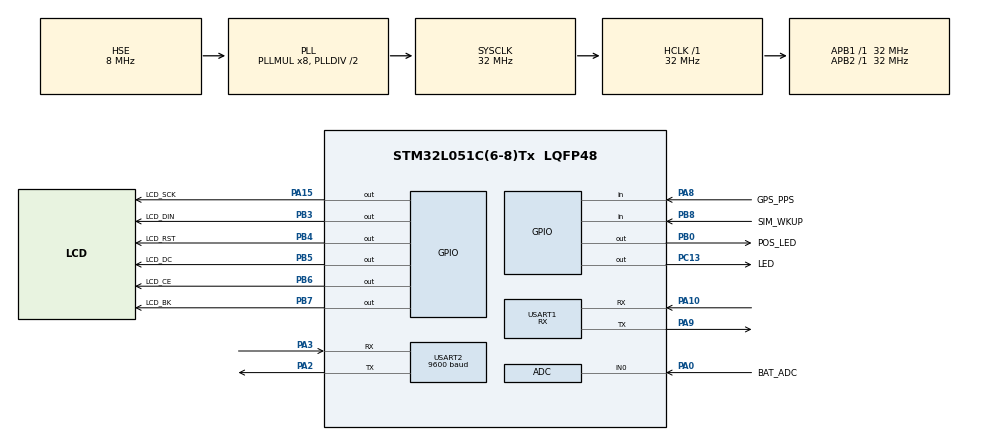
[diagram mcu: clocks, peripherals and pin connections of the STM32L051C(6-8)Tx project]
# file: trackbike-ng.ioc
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ADC.ClockPrescaler=ADC_CLOCK_SYNC_PCLK_DIV4
ADC.SamplingTime=ADC_SAMPLETIME_39CYCLES_5
FREERTOS.Tasks01=screenTask,40,64,screenFunc,Default,NULL,Dynamic,NULL,NULL;dataTrans,24,64,dataTransFunc,Default,NULL,Dynamic,NULL,NULL;posLedTask,24,64,posLedFunc,Default,NULL,Dynamic,NULL,NULL
FREERTOS.configMINIMAL_STACK_SIZE=64
FREERTOS.configTIMER_TASK_STACK_DEPTH=128
FREERTOS.configTOTAL_HEAP_SIZE=1440
FREERTOS.configUSE_TICKLESS_IDLE=1
IWDG.Prescaler=IWDG_PRESCALER_256
IWDG.Reload=4000
IWDG.Window=4095
Mcu.Family=STM32L0
Mcu.Name=STM32L051C(6-8)Tx
Mcu.Package=LQFP48
NVIC.TIM2_IRQn=true\:3\:0\:false\:false\:true\:false\:false\:true\:true
NVIC.TIM6_DAC_IRQn=true\:2\:0\:true\:false\:true\:false\:true\:true\:true
NVIC.TimeBase=TIM2_IRQn
NVIC.TimeBaseIP=TIM2
NVIC.USART1_IRQn=true\:0\:0\:true\:false\:true\:false\:true\:true\:true
NVIC.USART2_IRQn=true\:1\:0\:true\:false\:true\:false\:true\:true\:true
PA0.GPIO_Label=BAT_ADC
PA0.Mode=IN0
PA0.Signal=ADC_IN0
PA10.Mode=Asynchronous
PA10.Signal=USART1_RX
PA13.Mode=Serial_Wire
PA13.Signal=SYS_SWDIO
PA14.Mode=Serial_Wire
PA14.Signal=SYS_SWCLK
PA15.GPIO_Label=LCD_SCK
PA15.Signal=GPIO_Output
PA2.Mode=Asynchronous
PA2.Signal=USART2_TX
PA3.Mode=Asynchronous
PA3.Signal=USART2_RX
PA8.GPIO_Label=GPS_PPS
PA8.Signal=GPIO_Input
PA9.Mode=Asynchronous
PA9.Signal=USART1_TX
PB0.GPIO_Label=POS_LED
PB0.Signal=GPIO_Output
PB3.GPIO_Label=LCD_DIN
PB3.Signal=GPIO_Output
PB4.GPIO_Label=LCD_RST
PB4.Signal=GPIO_Output
PB5.GPIO_Label=LCD_DC
PB5.Signal=GPIO_Output
PB6.GPIO_Label=LCD_CE
PB6.Signal=GPIO_Output
PB7.GPIO_Label=LCD_BK
PB7.PinState=GPIO_PIN_RESET
PB7.Signal=GPIO_Output
PB8.GPIO_Label=SIM_WKUP
PB8.Signal=GPIO_Input
PC13.GPIO_Label=LED
PC13.Signal=GPIO_Output
PH0-OSC_IN.Mode=HSE-External-Oscillator
PH0-OSC_IN.Signal=RCC_OSC_IN
PH1-OSC_OUT.Mode=HSE-External-Oscillator
PH1-OSC_OUT.Signal=RCC_OSC_OUT
ProjectManager.HeapSize=0x050
ProjectManager.StackSize=0x300
ProjectManager.TargetToolchain=STM32CubeIDE
RCC.AHBFreq_Value=32000000
RCC.APB1Freq_Value=32000000
RCC.APB1TimFreq_Value=32000000
RCC.APB2Freq_Value=32000000
RCC.APB2TimFreq_Value=32000000
RCC.HCLKFreq_Value=32000000
RCC.HSE_VALUE=8000000
RCC.HSI16_VALUE=16000000
RCC.HSI_VALUE=16000000
RCC.LSE_VALUE=32768
RCC.MSIClockRange=RCC_MSIRANGE_6
RCC.MSI_VALUE=4194000
RCC.PLLMUL=RCC_PLLMUL_8
RCC.PLLSourceVirtual=RCC_PLLSOURCE_HSE
RCC.SYSCLKFreq_VALUE=32000000
RCC.SYSCLKSource=RCC_SYSCLKSOURCE_PLLCLK
RCC.VCOOutputFreq_Value=64000000
TIM6.Period=800-1
TIM6.Prescaler=4000-1
USART1.Mode=MODE_RX
USART1.OverrunDisableParam=ADVFEATURE_OVERRUN_DISABLE
USART1.VirtualMode-Asynchronous=VM_ASYNC
USART2.BaudRate=9600
USART2.OverrunDisableParam=ADVFEATURE_OVERRUN_DISABLE
USART2.VirtualMode-Asynchronous=VM_ASYNC
VP_FREERTOS_VS_CMSIS_V2.Mode=CMSIS_V2
VP_IWDG_VS_IWDG.Mode=IWDG_Activate
VP_SYS_VS_tim2.Mode=TIM2
VP_TIM6_VS_ClockSourceINT.Mode=Enable_Timer
board=custom

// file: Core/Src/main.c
/* USER CODE BEGIN Header */
/**
  ******************************************************************************
  * @file           : main.c
  * @brief          : Main program body
  ******************************************************************************
  * @attention
  *
  * Copyright (c) 2023 STMicroelectronics.
  * All rights reserved.
  *
  * This software is licensed under terms that can be found in the LICENSE file
  * in the root directory of this software component.
  * If no LICENSE file comes with this software, it is provided AS-IS.
  *
  ******************************************************************************
  */
/* USER CODE END Header */
#include "main.h"
#include "cmsis_os.h"

/* USER CODE BEGIN PD */
#define GUI_BIGWORD_LINE 4
/* USER CODE END PD */

ADC_HandleTypeDef hadc;

IWDG_HandleTypeDef hiwdg;

TIM_HandleTypeDef htim6;

UART_HandleTypeDef huart1;
UART_HandleTypeDef huart2;

/* Definitions for screenTask */
osThreadId_t screenTaskHandle;
const osThreadAttr_t screenTask_attributes = {
  .name = "screenTask",
  .stack_size = 64 * 4,
  .priority = (osPriority_t) osPriorityHigh,
};
/* Definitions for dataTrans */
osThreadId_t dataTransHandle;
const osThreadAttr_t dataTrans_attributes = {
  .name = "dataTrans",
  .stack_size = 64 * 4,
  .priority = (osPriority_t) osPriorityNormal,
};
/* Definitions for posLedTask */
osThreadId_t posLedTaskHandle;
const osThreadAttr_t posLedTask_attributes = {
  .name = "posLedTask",
  .stack_size = 64 * 4,
  .priority = (osPriority_t) osPriorityHigh,
};
/* USER CODE BEGIN PV */
const uint8_t BIKENAME[]="XXXX";
const uint8_t SERVER_LICENSE[]="XXX";
const uint8_t SERVER[]="XXXXXX";
/* USER CODE END PV */

void SystemClock_Config(void);
static void MX_GPIO_Init(void);
static void MX_USART1_UART_Init(void);
static void MX_USART2_UART_Init(void);
static void MX_IWDG_Init(void);
static void MX_ADC_Init(void);
static void MX_TIM6_Init(void);
void screenFunc(void *argument);
void dataTransFunc(void *argument);
void posLedFunc(void *argument);

/* USER CODE BEGIN 0 */
uint8_t u1_rev_dat;
uint16_t u1_rev_cnt=0;
uint8_t u1_rev_on=0;
uint8_t u1_single_cmd[200];

uint8_t u2_rev_dat,u2_rev_last;
uint8_t u2_rev_on=0;
uint16_t u2_rev_cnt=0;
void HAL_UART_RxCpltCallback(UART_HandleTypeDef *huart){
	if(huart->Instance==huart1.Instance){
		if(u1_rev_dat=='$'){
			u1_rev_on=1;
			u1_rev_cnt=0;
		}
		else if(u1_rev_dat=='\r'&&u1_rev_on){
			u1_rev_on=0;
			gps_msg_read(u1_single_cmd);
			u1_rev_cnt=0;
			memset(u1_single_cmd,0,sizeof(u1_single_cmd));
		}
		if(u1_rev_on){
			u1_single_cmd[u1_rev_cnt++]=u1_rev_dat;
		}
		HAL_UART_Receive_IT(huart, &u1_rev_dat, 1);
	}
	else if(huart->Instance==huart2.Instance){
		if(sim800l_data_summary.wait_until_ok_mode){
			if(u2_rev_last=='O'&&u2_rev_dat=='K'){
				sim800l_data_summary.wait_until_ok_mode=0;
				sim800l_data_summary.wait_until_ok_flag=1;
			}
		}
		if(sim800l_data_summary.rev_sync_mode){
			sim800l_data_summary.rev_sync_buffer[sim800l_data_summary.rev_sync_cnt++]=u2_rev_dat;
			if(sim800l_data_summary.rev_sync_cnt>=sizeof(sim800l_data_summary.rev_sync_buffer)){
				sim800l_data_summary.rev_sync_cnt=0;
				sim800l_data_summary.rev_sync_mode=0;
				memset(sim800l_data_summary.rev_sync_buffer,0,sizeof(sim800l_data_summary.rev_sync_buffer));
			}
		}
		if(u2_rev_dat=='&'){
			u2_rev_on=1;
		}
		else if(u2_rev_dat=='\r'&&u2_rev_on){
			u2_rev_on=0;
			sim800l_server_cmd_resolve();
			sim800l_data_summary.rev_cmd_cnt=0;
			memset(sim800l_data_summary.rev_cmd_buffer,0,sizeof(sim800l_data_summary.rev_cmd_buffer));
		}
		if(u2_rev_on){
			sim800l_data_summary.rev_cmd_buffer[sim800l_data_summary.rev_cmd_cnt++]=u2_rev_dat;
		}
		u2_rev_last=u2_rev_dat;
		HAL_UART_Receive_IT(huart, &u2_rev_dat, 1);
	}
}

void HAL_UART_ErrorCallback(UART_HandleTypeDef *huart){
	if(READ_BIT(huart->Instance->ISR,UART_FLAG_NE)){
		__HAL_UART_CLEAR_NEFLAG(huart);
	}
	else if(READ_BIT(huart->Instance->ISR,UART_FLAG_ORE)){
		__HAL_UART_CLEAR_OREFLAG(huart);
	}
	else if(READ_BIT(huart->Instance->ISR,UART_FLAG_FE)){
		__HAL_UART_CLEAR_FEFLAG(huart);
	}
	else if(READ_BIT(huart->Instance->ISR,UART_FLAG_PE)){
		__HAL_UART_CLEAR_PEFLAG(huart);
	}
}

void GUI_BOOT_REGISTER_NET(){
	LCD_Clean();
	l_print("Powered By", 0, Middle);
	LCD_draw_freertos(3,1);
	LCD_draw_big(3,GUI_BIGWORD_LINE,6);
	LCD_draw_big(5,GUI_BIGWORD_LINE,7);
	LCD_draw_big(7,GUI_BIGWORD_LINE,8);
	LCD_draw_big(9,GUI_BIGWORD_LINE,9);
}

void GUI_BOOT_TCP_CONNECT(){
	LCD_Clean();
	l_print("Powered By", 0, Middle);
	LCD_draw_freertos(3,1);
	LCD_draw_big(2,GUI_BIGWORD_LINE,10);
	LCD_draw_big(4,GUI_BIGWORD_LINE,11);
	LCD_draw_big(6,GUI_BIGWORD_LINE,12);
	LCD_draw_big(8,GUI_BIGWORD_LINE,13);
	LCD_draw_big(10,GUI_BIGWORD_LINE,14);
}

void GUI_BOOT_TCP_FAIL(){
	LCD_Clean();
	l_print("Powered By", 0, Middle);
	LCD_draw_freertos(3,1);
	LCD_draw_big(0,GUI_BIGWORD_LINE,10);
	LCD_draw_big(2,GUI_BIGWORD_LINE,11);
	LCD_draw_big(4,GUI_BIGWORD_LINE,12);
	LCD_draw_big(6,GUI_BIGWORD_LINE,13);
	LCD_draw_big(8,GUI_BIGWORD_LINE,14);
	LCD_draw_big(10,GUI_BIGWORD_LINE,15);
	LCD_draw_big(12,GUI_BIGWORD_LINE,16);
}
/* USER CODE END 0 */

int main(void)
{

  /* MCU Configuration--------------------------------------------------------*/

  /* Reset of all peripherals, Initializes the Flash interface and the Systick. */
  HAL_Init();

  /* Configure the system clock */
  SystemClock_Config();

  /* Initialize all configured peripherals */
  MX_GPIO_Init();
  MX_USART1_UART_Init();
  MX_USART2_UART_Init();
//  MX_IWDG_Init();
  MX_ADC_Init();
  MX_TIM6_Init();
  /* USER CODE BEGIN 2 */

  HAL_UART_Receive_IT(&huart1, &u1_rev_dat, 1);
  HAL_UART_Receive_IT(&huart2, &u2_rev_dat, 1);
  HAL_GPIO_WritePin(LCD_BK_GPIO_Port, LCD_BK_Pin, 1);
  LCD_Init();
  HAL_Delay(3000);
  sim800l_init();
  MX_IWDG_Init();
  HAL_TIM_Base_Start_IT(&htim6);
  /* USER CODE END 2 */

  /* Init scheduler */
  osKernelInitialize();

  /* Create the thread(s) */
  /* creation of screenTask */
  screenTaskHandle = osThreadNew(screenFunc, NULL, &screenTask_attributes);

  /* creation of dataTrans */
  dataTransHandle = osThreadNew(dataTransFunc, NULL, &dataTrans_attributes);

  /* creation of posLedTask */
  posLedTaskHandle = osThreadNew(posLedFunc, NULL, &posLedTask_attributes);

  /* Start scheduler */
  osKernelStart();

  /* We should never get here as control is now taken by the scheduler */
  /* Infinite loop */
  while (1)
  {

  }
}

void SystemClock_Config(void)
{
  RCC_OscInitTypeDef RCC_OscInitStruct = {0};
  RCC_ClkInitTypeDef RCC_ClkInitStruct = {0};
  RCC_PeriphCLKInitTypeDef PeriphClkInit = {0};

  /** Configure the main internal regulator output voltage
  */
  __HAL_PWR_VOLTAGESCALING_CONFIG(PWR_REGULATOR_VOLTAGE_SCALE1);

  /** Initializes the RCC Oscillators according to the specified parameters
  * in the RCC_OscInitTypeDef structure.
  */
  RCC_OscInitStruct.OscillatorType = RCC_OSCILLATORTYPE_LSI|RCC_OSCILLATORTYPE_HSE;
  RCC_OscInitStruct.HSEState = RCC_HSE_ON;
  RCC_OscInitStruct.LSIState = RCC_LSI_ON;
  RCC_OscInitStruct.PLL.PLLState = RCC_PLL_ON;
  RCC_OscInitStruct.PLL.PLLSource = RCC_PLLSOURCE_HSE;
  RCC_OscInitStruct.PLL.PLLMUL = RCC_PLLMUL_8;
  RCC_OscInitStruct.PLL.PLLDIV = RCC_PLLDIV_2;
  if (HAL_RCC_OscConfig(&RCC_OscInitStruct) != HAL_OK)
  {
    Error_Handler();
  }

  /** Initializes the CPU, AHB and APB buses clocks
  */
  RCC_ClkInitStruct.ClockType = RCC_CLOCKTYPE_HCLK|RCC_CLOCKTYPE_SYSCLK
                              |RCC_CLOCKTYPE_PCLK1|RCC_CLOCKTYPE_PCLK2;
  RCC_ClkInitStruct.SYSCLKSource = RCC_SYSCLKSOURCE_PLLCLK;
  RCC_ClkInitStruct.AHBCLKDivider = RCC_SYSCLK_DIV1;
  RCC_ClkInitStruct.APB1CLKDivider = RCC_HCLK_DIV1;
  RCC_ClkInitStruct.APB2CLKDivider = RCC_HCLK_DIV1;

  if (HAL_RCC_ClockConfig(&RCC_ClkInitStruct, FLASH_LATENCY_1) != HAL_OK)
  {
    Error_Handler();
  }
  PeriphClkInit.PeriphClockSelection = RCC_PERIPHCLK_USART1|RCC_PERIPHCLK_USART2;
  PeriphClkInit.Usart1ClockSelection = RCC_USART1CLKSOURCE_PCLK2;
  PeriphClkInit.Usart2ClockSelection = RCC_USART2CLKSOURCE_PCLK1;
  if (HAL_RCCEx_PeriphCLKConfig(&PeriphClkInit) != HAL_OK)
  {
    Error_Handler();
  }
}

static void MX_ADC_Init(void)
{

  ADC_ChannelConfTypeDef sConfig = {0};

  /** Configure the global features of the ADC (Clock, Resolution, Data Alignment and number of conversion)
  */
  hadc.Instance = ADC1;
  hadc.Init.OversamplingMode = DISABLE;
  hadc.Init.ClockPrescaler = ADC_CLOCK_SYNC_PCLK_DIV4;
  hadc.Init.Resolution = ADC_RESOLUTION_12B;
  hadc.Init.SamplingTime = ADC_SAMPLETIME_39CYCLES_5;
  hadc.Init.ScanConvMode = ADC_SCAN_DIRECTION_FORWARD;
  hadc.Init.DataAlign = ADC_DATAALIGN_RIGHT;
  hadc.Init.ContinuousConvMode = DISABLE;
  hadc.Init.DiscontinuousConvMode = DISABLE;
  hadc.Init.ExternalTrigConvEdge = ADC_EXTERNALTRIGCONVEDGE_NONE;
  hadc.Init.ExternalTrigConv = ADC_SOFTWARE_START;
  hadc.Init.DMAContinuousRequests = DISABLE;
  hadc.Init.EOCSelection = ADC_EOC_SINGLE_CONV;
  hadc.Init.Overrun = ADC_OVR_DATA_PRESERVED;
  hadc.Init.LowPowerAutoWait = DISABLE;
  hadc.Init.LowPowerFrequencyMode = DISABLE;
  hadc.Init.LowPowerAutoPowerOff = DISABLE;
  if (HAL_ADC_Init(&hadc) != HAL_OK)
  {
    Error_Handler();
  }

  /** Configure for the selected ADC regular channel to be converted.
  */
  sConfig.Channel = ADC_CHANNEL_0;
  sConfig.Rank = ADC_RANK_CHANNEL_NUMBER;
  if (HAL_ADC_ConfigChannel(&hadc, &sConfig) != HAL_OK)
  {
    Error_Handler();
  }

}

static void MX_IWDG_Init(void)
{

  hiwdg.Instance = IWDG;
  hiwdg.Init.Prescaler = IWDG_PRESCALER_256;
  hiwdg.Init.Window = 4095;
  hiwdg.Init.Reload = 4000;
  if (HAL_IWDG_Init(&hiwdg) != HAL_OK)
  {
    Error_Handler();
  }

}

static void MX_TIM6_Init(void)
{

  TIM_MasterConfigTypeDef sMasterConfig = {0};

  htim6.Instance = TIM6;
  htim6.Init.Prescaler = 4000-1;
  htim6.Init.CounterMode = TIM_COUNTERMODE_UP;
  htim6.Init.Period = 800-1;
  htim6.Init.AutoReloadPreload = TIM_AUTORELOAD_PRELOAD_DISABLE;
  if (HAL_TIM_Base_Init(&htim6) != HAL_OK)
  {
    Error_Handler();
  }
  sMasterConfig.MasterOutputTrigger = TIM_TRGO_RESET;
  sMasterConfig.MasterSlaveMode = TIM_MASTERSLAVEMODE_DISABLE;
  if (HAL_TIMEx_MasterConfigSynchronization(&htim6, &sMasterConfig) != HAL_OK)
  {
    Error_Handler();
  }

}

static void MX_USART1_UART_Init(void)
{

  huart1.Instance = USART1;
  huart1.Init.BaudRate = 115200;
  huart1.Init.WordLength = UART_WORDLENGTH_8B;
  huart1.Init.StopBits = UART_STOPBITS_1;
  huart1.Init.Parity = UART_PARITY_NONE;
  huart1.Init.Mode = UART_MODE_RX;
  huart1.Init.HwFlowCtl = UART_HWCONTROL_NONE;
  huart1.Init.OverSampling = UART_OVERSAMPLING_16;
  huart1.Init.OneBitSampling = UART_ONE_BIT_SAMPLE_DISABLE;
  huart1.AdvancedInit.AdvFeatureInit = UART_ADVFEATURE_RXOVERRUNDISABLE_INIT;
  huart1.AdvancedInit.OverrunDisable = UART_ADVFEATURE_OVERRUN_DISABLE;
  if (HAL_UART_Init(&huart1) != HAL_OK)
  {
    Error_Handler();
  }

}

static void MX_USART2_UART_Init(void)
{

  huart2.Instance = USART2;
  huart2.Init.BaudRate = 9600;
  huart2.Init.WordLength = UART_WORDLENGTH_8B;
  huart2.Init.StopBits = UART_STOPBITS_1;
  huart2.Init.Parity = UART_PARITY_NONE;
  huart2.Init.Mode = UART_MODE_TX_RX;
  huart2.Init.HwFlowCtl = UART_HWCONTROL_NONE;
  huart2.Init.OverSampling = UART_OVERSAMPLING_16;
  huart2.Init.OneBitSampling = UART_ONE_BIT_SAMPLE_DISABLE;
  huart2.AdvancedInit.AdvFeatureInit = UART_ADVFEATURE_RXOVERRUNDISABLE_INIT;
  huart2.AdvancedInit.OverrunDisable = UART_ADVFEATURE_OVERRUN_DISABLE;
  if (HAL_UART_Init(&huart2) != HAL_OK)
  {
    Error_Handler();
  }

}

static void MX_GPIO_Init(void)
{
  GPIO_InitTypeDef GPIO_InitStruct = {0};

  /* GPIO Ports Clock Enable */
  __HAL_RCC_GPIOC_CLK_ENABLE();
  __HAL_RCC_GPIOH_CLK_ENABLE();
  __HAL_RCC_GPIOA_CLK_ENABLE();
  __HAL_RCC_GPIOB_CLK_ENABLE();

  /*Configure GPIO pin Output Level */
  HAL_GPIO_WritePin(LED_GPIO_Port, LED_Pin, GPIO_PIN_RESET);

  /*Configure GPIO pin Output Level */
  HAL_GPIO_WritePin(GPIOB, POS_LED_Pin|LCD_DIN_Pin|LCD_RST_Pin|LCD_DC_Pin
                          |LCD_CE_Pin|LCD_BK_Pin, GPIO_PIN_RESET);

  /*Configure GPIO pin Output Level */
  HAL_GPIO_WritePin(LCD_SCK_GPIO_Port, LCD_SCK_Pin, GPIO_PIN_RESET);

  /*Configure GPIO pin : LED_Pin */
  GPIO_InitStruct.Pin = LED_Pin;
  GPIO_InitStruct.Mode = GPIO_MODE_OUTPUT_PP;
  GPIO_InitStruct.Pull = GPIO_NOPULL;
  GPIO_InitStruct.Speed = GPIO_SPEED_FREQ_LOW;
  HAL_GPIO_Init(LED_GPIO_Port, &GPIO_InitStruct);

  /*Configure GPIO pins : POS_LED_Pin LCD_DIN_Pin LCD_RST_Pin LCD_DC_Pin
                           LCD_CE_Pin LCD_BK_Pin */
  GPIO_InitStruct.Pin = POS_LED_Pin|LCD_DIN_Pin|LCD_RST_Pin|LCD_DC_Pin
                          |LCD_CE_Pin|LCD_BK_Pin;
  GPIO_InitStruct.Mode = GPIO_MODE_OUTPUT_PP;
  GPIO_InitStruct.Pull = GPIO_NOPULL;
  GPIO_InitStruct.Speed = GPIO_SPEED_FREQ_LOW;
  HAL_GPIO_Init(GPIOB, &GPIO_InitStruct);

  /*Configure GPIO pin : GPS_PPS_Pin */
  GPIO_InitStruct.Pin = GPS_PPS_Pin;
  GPIO_InitStruct.Mode = GPIO_MODE_INPUT;
  GPIO_InitStruct.Pull = GPIO_NOPULL;
  HAL_GPIO_Init(GPS_PPS_GPIO_Port, &GPIO_InitStruct);

  /*Configure GPIO pin : LCD_SCK_Pin */
  GPIO_InitStruct.Pin = LCD_SCK_Pin;
  GPIO_InitStruct.Mode = GPIO_MODE_OUTPUT_PP;
  GPIO_InitStruct.Pull = GPIO_NOPULL;
  GPIO_InitStruct.Speed = GPIO_SPEED_FREQ_LOW;
  HAL_GPIO_Init(LCD_SCK_GPIO_Port, &GPIO_InitStruct);

  /*Configure GPIO pin : SIM_WKUP_Pin */
  GPIO_InitStruct.Pin = SIM_WKUP_Pin;
  GPIO_InitStruct.Mode = GPIO_MODE_INPUT;
  GPIO_InitStruct.Pull = GPIO_NOPULL;
  HAL_GPIO_Init(SIM_WKUP_GPIO_Port, &GPIO_InitStruct);

}

/* USER CODE BEGIN Header_screenFunc */
const uint8_t week2str[][4]={"err","mon","tue","wed","thu","fri","sat","sun"};
const uint8_t hdg_direction[][14]={"NORTH    ","NORTHEAST","EAST     ",
		"SOUTHEAST","SOUTH    ","SOUTHWEST","WEST     ","NORTHWEST","ERROR    "};
uint8_t get_heading_direction(){
	uint8_t gap=20;
	if(gps_data_summary.heading_int<gap||gps_data_summary.heading_int>=360-gap){
		return 0;
	}
	else if(gps_data_summary.heading_int>=gap&&gps_data_summary.heading_int<90-gap){
		return 1;
	}
	else if(gps_data_summary.heading_int>=90-gap&&gps_data_summary.heading_int<90+gap){
		return 2;
	}
	else if(gps_data_summary.heading_int>=90+gap&&gps_data_summary.heading_int<180-gap){
		return 3;
	}
	else if(gps_data_summary.heading_int>=180-gap&&gps_data_summary.heading_int<180+gap){
		return 4;
	}
	else if(gps_data_summary.heading_int>=180+gap&&gps_data_summary.heading_int<270-gap){
		return 5;
	}
	else if( gps_data_summary.heading_int>=270-gap&&gps_data_summary.heading_int<270+gap){
		return 6;
	}
	else if( gps_data_summary.heading_int>=270+gap&&gps_data_summary.heading_int<360-gap){
		return 7;
	}
	else{
		return 8;
	}
}

void fillstr_bynum(uint8_t* buffer,int num){
	if(num>=10){
		buffer[0]=num/10+'0';
	}else{
		buffer[0]='0';
	}
	buffer[1]=num%10+'0';
}
/**
  * @brief  Function implementing the screenTask thread.
  * @param  argument: Not used
  * @retval None
  */
uint8_t battery_voltage_str[5]="0.0";
float battery_voltage=0;
float battery_sample_K=0.05;
#define SCREEN_BAT_MILE_DISP_INTERVAL 10
/* USER CODE END Header_screenFunc */
void screenFunc(void *argument)
{
  /* USER CODE BEGIN 5 */
	uint8_t current_mode=0,tm_loop_cnt=0,bat_disp_cnt=0;
	uint8_t headline[10]="thu 14:03";
	uint8_t last_stage=0;
	osDelay(100);
	HAL_ADCEx_Calibration_Start(&hadc, ADC_SINGLE_ENDED);
  /* Infinite loop */
  for(;;)
  {
	HAL_ADC_Start(&hadc);
	HAL_ADC_PollForConversion(&hadc, 50);
	if(HAL_IS_BIT_SET(HAL_ADC_GetState(&hadc),HAL_ADC_STATE_EOC_REG)){
		float adc_value=((float)HAL_ADC_GetValue(&hadc))/4095.0f*3.3*3;
		if(battery_voltage==0){
			battery_voltage=adc_value;
		}else{
			battery_voltage=battery_sample_K*adc_value+(1-battery_sample_K)*battery_voltage;
		}
	}
	if(current_mode!=gps_data_summary.parked_mode){
	  LCD_Clean();
	}
	LCD_SetXY(0,0);
	g_puts(WORD_TOWER_SIM);
	g_puts(WORD_SIGNAL(sim800l_data_summary.signal_level));
	g_puts(WORD_TOWER_GPS);
	g_puts(WORD_SIGNAL(gps_data_summary.signal_level*gps_data_summary.connected));
	headline[0]=week2str[sim800l_data_summary.net_week][0];
	headline[1]=week2str[sim800l_data_summary.net_week][1];
	headline[2]=week2str[sim800l_data_summary.net_week][2];
	fillstr_bynum(headline+4,sim800l_data_summary.net_hour);
	fillstr_bynum(headline+7,sim800l_data_summary.net_min);
	if(tm_loop_cnt==2){
		if(headline[6]==':'){
			headline[6]=' ';
		}else{
			headline[6]=':';
		}
		tm_loop_cnt=0;
	}
	l_print((char*)headline, 0, Right);
	if(!gps_data_summary.parked_mode&&gps_data_summary.connected){
		if(last_stage!=1){
			l_print("              ", 2, Middle);
			l_print("              ", 3, Middle);
		}
		LCD_draw_big(0,2,0);
		LCD_draw_big(2,2,1);
		LCD_draw_big_num(6, 2, gps_data_summary.velocity_kmh_int/10);
		LCD_draw_big_num(8, 2, gps_data_summary.velocity_kmh_int%10);
		l_print("              ", 1, Middle);
		l_print("km/h", 3, Right);
		if(sim800l_data_summary.net_hour>=18||sim800l_data_summary.net_hour<=7){
			HAL_GPIO_WritePin(LCD_BK_GPIO_Port, LCD_BK_Pin, 1);
		}else{
			HAL_GPIO_WritePin(LCD_BK_GPIO_Port, LCD_BK_Pin, 0);
		}
		last_stage=1;
	}else{
		if(bat_disp_cnt<SCREEN_BAT_MILE_DISP_INTERVAL){
			if(last_stage!=2){
				l_print("              ", 2, Middle);
				l_print("              ", 3, Middle);
			}
			LCD_draw_big(0,2,2);
			LCD_draw_big(2,2,3);
			LCD_draw_big_num(5, 2, sim800l_data_summary.net_aux[1]);
			LCD_draw_big_num(7, 2, sim800l_data_summary.net_aux[2]);
			LCD_SetXY(9*6,3);
			g_puts('.');
			LCD_SetXY(12*6,3);
			g_puts('k');
			LCD_SetXY(13*6,3);
			g_puts('m');
//			LCD_draw_big_num(10, 2, mile_num_2);
			LCD_draw_big_num(10, 2, sim800l_data_summary.net_aux[3]);
			last_stage=2;
		}
		else if(bat_disp_cnt>=SCREEN_BAT_MILE_DISP_INTERVAL&&bat_disp_cnt<SCREEN_BAT_MILE_DISP_INTERVAL*2){
			if(last_stage!=3){
				l_print("              ", 2, Middle);
				l_print("              ", 3, Middle);
			}
			uint8_t bat_num_1=(uint8_t)battery_voltage;
			uint8_t bat_num_2=(battery_voltage-bat_num_1)*10;
			uint8_t bat_num_3=((uint8_t)((battery_voltage-bat_num_1)*100))%10;
			LCD_draw_big(0,2,4);
			LCD_draw_big(2,2,5);
			LCD_draw_big_num(5, 2, bat_num_1);
			LCD_SetXY(7*6,3);
			g_puts('.');
			LCD_SetXY(13*6,3);
			g_puts('V');
			LCD_draw_big_num(8, 2, bat_num_2);
			LCD_draw_big_num(10, 2, bat_num_3);
			battery_voltage_str[0]=bat_num_1+'0';
			battery_voltage_str[1]='.';
			battery_voltage_str[2]=bat_num_2+'0';
			battery_voltage_str[3]=bat_num_3+'0';
			battery_voltage_str[4]=0;
			last_stage=3;
		}else{
			bat_disp_cnt=0;
		}
		if(gps_data_summary.parked_mode){
			l_print("   [PARKED]   ", 1, Middle);
		}
		HAL_GPIO_WritePin(LCD_BK_GPIO_Port, LCD_BK_Pin, 0);
	}
	if(!gps_data_summary.connected){
		l_print("[GPS MALFUNC] ", 1, Middle);
	}
	if(sim800l_data_summary.connection_loss_flag){
		l_print("TRY RECONNECT.", 1, Middle);
	}
	uint8_t now_dir=get_heading_direction();
	l_print((char*)hdg_direction[now_dir], 5, Left);
	uint8_t hdg[4]="000";
	uint8_t hdg_cnt=0;
	uint16_t heading_tmp=gps_data_summary.heading_int;
	while(heading_tmp!=0){
		hdg[2-hdg_cnt]=heading_tmp%10+'0';
		heading_tmp/=10;
		hdg_cnt++;
	}
	l_print((char*)hdg, 5, Right);
	tm_loop_cnt++;
	bat_disp_cnt++;
	HAL_IWDG_Refresh(&hiwdg);
	current_mode=gps_data_summary.parked_mode;
	//每天自动重启
	if(sim800l_data_summary.net_hour==2&&sim800l_data_summary.net_min==1&&
			(sim800l_data_summary.net_sec>=0&&sim800l_data_summary.net_sec<=20)){
		HAL_NVIC_SystemReset();
	}
	osDelay(250);
  }
  /* USER CODE END 5 */
}

void dataTransFunc(void *argument)
{
  /* USER CODE BEGIN dataTransFunc */
	uint8_t state_transfer_flag=0;//如果检测到停止，立刻发送数据包，之后再恢复正常间隔
	uint32_t interval=6000;
	uint32_t tick_1=0,tick_2=0;
	sim800l_data_summary.osReady=1;
	gps_data_summary.os_ready=1;
  /* Infinite loop */
  for(;;)
  {
	  tick_1=HAL_GetTick();
	  sim800l_noecho();
	  sim800l_read_rssi();
	  //It seems that i ignored the process safety.
	  if(battery_voltage_str[0]!='0'){
		  if(gps_data_summary.queue_tail>0){
			  sim800l_send_queue();
			  state_transfer_flag=1;
		  }else{
			  gps_generate_null();
			  sim800l_send(gps_pulse_message);
			  state_transfer_flag=0;
		  }
	  }else{
		  osDelay(1000);
		  continue;
	  }
	  HAL_GPIO_TogglePin(LCD_BK_GPIO_Port, LCD_BK_Pin);
	  osDelay(100);
	  HAL_GPIO_TogglePin(LCD_BK_GPIO_Port, LCD_BK_Pin);
	  if(!sim800l_check_connection(1000)){
		  sim800l_init_quick();
	  }
	  tick_2=HAL_GetTick();
	  if(state_transfer_flag){
		  interval=6000;
	  }else{
		  interval=5*6000;
	  }
	  if(tick_2-tick_1<interval){
		  uint32_t delta=interval-(tick_2-tick_1);
		  osDelay(delta);
	  }
  }
  /* USER CODE END dataTransFunc */
}

/* USER CODE BEGIN Header_posLedFunc */
/**
* @brief Function implementing the posLedTask thread.
* @param argument: Not used
* @retval None
*/
uint8_t self_timer_cnt=0;
/* USER CODE END Header_posLedFunc */
void posLedFunc(void *argument)
{
  /* USER CODE BEGIN posLedFunc */
  /* Infinite loop */
  for(;;)
  {
	  //0:strobe 1:steady 2:off
	  if(sim800l_data_summary.net_aux[0]==0){
		  HAL_GPIO_WritePin(POS_LED_GPIO_Port, POS_LED_Pin, 1);
		  osDelay(25);
		  HAL_GPIO_WritePin(POS_LED_GPIO_Port, POS_LED_Pin, 0);
		  osDelay(50);
		  HAL_GPIO_WritePin(POS_LED_GPIO_Port, POS_LED_Pin, 1);
		  osDelay(25);
		  HAL_GPIO_WritePin(POS_LED_GPIO_Port, POS_LED_Pin, 0);
		  osDelay(25);
	  }else if(sim800l_data_summary.net_aux[0]==1){
		  HAL_GPIO_WritePin(POS_LED_GPIO_Port, POS_LED_Pin, 1);
	  }
	  else if(sim800l_data_summary.net_aux[0]==2){
		  if(sim800l_data_summary.net_hour>=18||sim800l_data_summary.net_hour<=7){
			  HAL_GPIO_WritePin(POS_LED_GPIO_Port, POS_LED_Pin, 1);
			  osDelay(25);
			  HAL_GPIO_WritePin(POS_LED_GPIO_Port, POS_LED_Pin, 0);
			  osDelay(50);
			  HAL_GPIO_WritePin(POS_LED_GPIO_Port, POS_LED_Pin, 1);
			  osDelay(25);
			  HAL_GPIO_WritePin(POS_LED_GPIO_Port, POS_LED_Pin, 0);
			  osDelay(25);
		  }
		  else{
			  HAL_GPIO_WritePin(POS_LED_GPIO_Port, POS_LED_Pin, 0);
		  }
	  }
	  else{
		  HAL_GPIO_WritePin(POS_LED_GPIO_Port, POS_LED_Pin, 0);
	  }
	  osDelay(1000);
  }
  /* USER CODE END posLedFunc */
}

void HAL_TIM_PeriodElapsedCallback(TIM_HandleTypeDef *htim)
{
  if (htim->Instance == TIM2) {
    HAL_IncTick();
  }
  /* USER CODE BEGIN Callback 1 */
  else if(htim->Instance==htim6.Instance){
		self_timer_cnt++;
		if(self_timer_cnt==10){
		  self_timer_cnt=0;
		  sim800l_data_summary.net_sec++;
		  if(sim800l_data_summary.net_sec==60){
			sim800l_data_summary.net_sec=0;
			sim800l_data_summary.net_min++;
			if(sim800l_data_summary.net_min==60){
				sim800l_data_summary.net_min=0;
				sim800l_data_summary.net_hour++;
				if(sim800l_data_summary.net_hour==24){
					sim800l_data_summary.net_hour=0;
				}
			}
		  }
		}
		HAL_TIM_Base_Start_IT(&htim6);
	}
  /* USER CODE END Callback 1 */
}

void Error_Handler(void)
{
  __disable_irq();
  while (1)
  {
  }
}

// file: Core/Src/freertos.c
/* USER CODE BEGIN Header */
/**
  ******************************************************************************
  * File Name          : freertos.c
  * Description        : Code for freertos applications
  ******************************************************************************
  * @attention
  *
  * Copyright (c) 2023 STMicroelectronics.
  * All rights reserved.
  *
  * This software is licensed under terms that can be found in the LICENSE file
  * in the root directory of this software component.
  * If no LICENSE file comes with this software, it is provided AS-IS.
  *
  ******************************************************************************
  */
/* USER CODE END Header */

#include "FreeRTOS.h"
#include "task.h"
#include "main.h"

/* USER CODE BEGIN PREPOSTSLEEP */
__weak void PreSleepProcessing(uint32_t *ulExpectedIdleTime)
{
/* place for user code */
}

__weak void PostSleepProcessing(uint32_t *ulExpectedIdleTime)
{
/* place for user code */
}
/* USER CODE END PREPOSTSLEEP */
